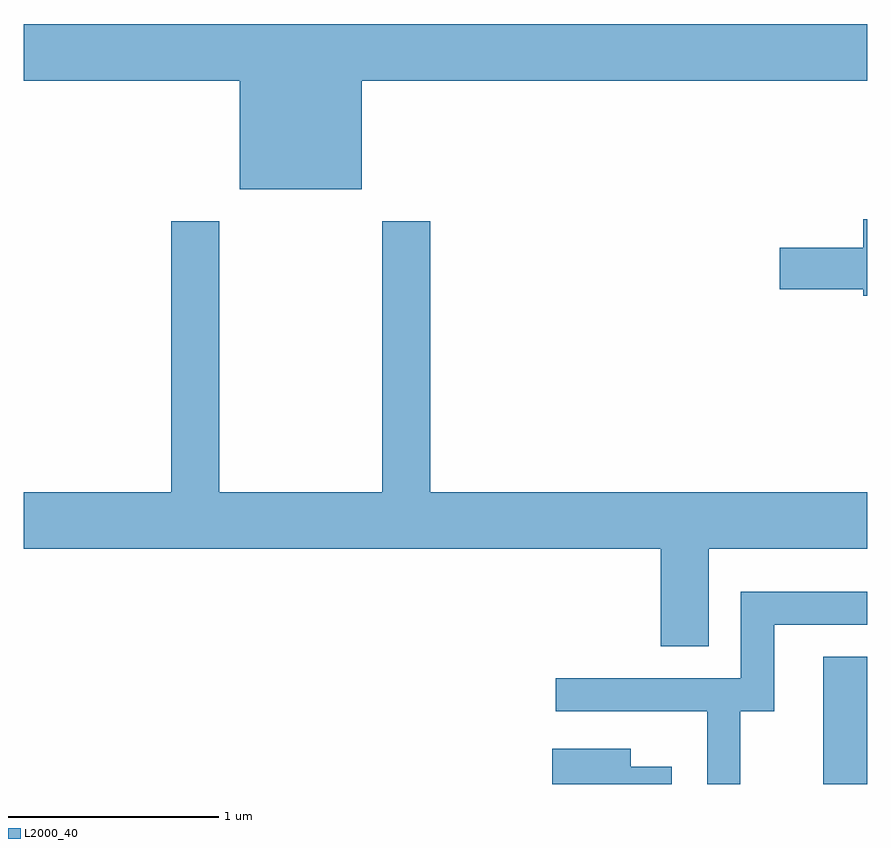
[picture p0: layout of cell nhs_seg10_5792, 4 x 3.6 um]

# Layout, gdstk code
import gdstk
lib = gdstk.Library(unit=1e-6, precision=1e-09)
def R(c, l, rs):  # rectangles x0, y0, x1, y1
    for r in rs: c.add(gdstk.rectangle(r[:2], r[2:], *l))
def P(c, l, *ps):  # polygons
    for p in ps: c.add(gdstk.Polygon(p, *l))
L2000_40 = (2000, 40)

nhs_seg10_5792 = lib.new_cell('nhs_seg10_5792')
R(nhs_seg10_5792, L2000_40, [(359.401,2170.522,359.611,2171.124)])
P(nhs_seg10_5792, L2000_40, [(357.214,2173.856),(359.611,2173.856),(359.611,2174.124),(355.611,2174.124),(355.611,2173.856),(356.636,2173.856),(356.636,2173.341),(357.214,2173.341)],
  [(359.611,2173.199),(359.591,2173.199),(359.591,2173.064),(359.196,2173.064),(359.196,2172.866),(359.591,2172.866),(359.591,2172.836),(359.611,2172.836)],
  [(358.859,2171.636),(359.611,2171.636),(359.611,2171.904),(357.539,2171.904),(357.539,2173.189),(357.311,2173.189),(357.311,2171.904),(356.539,2171.904),(356.539,2173.189),(356.311,2173.189),(356.311,2171.904),(355.611,2171.904),(355.611,2171.636),(358.631,2171.636),(358.631,2171.176),(358.859,2171.176)],
  [(359.009,2170.866),(359.169,2170.866),(359.169,2171.276),(359.611,2171.276),(359.611,2171.434),(359.011,2171.434),(359.011,2171.024),(358.133,2171.024),(358.133,2170.866),(358.851,2170.866),(358.851,2170.522),(359.009,2170.522)],
  [(358.684,2170.604),(358.489,2170.604),(358.489,2170.689),(358.116,2170.689),(358.116,2170.522),(358.684,2170.522)])

lib.write_gds('nhs_seg10_5792.gds')
